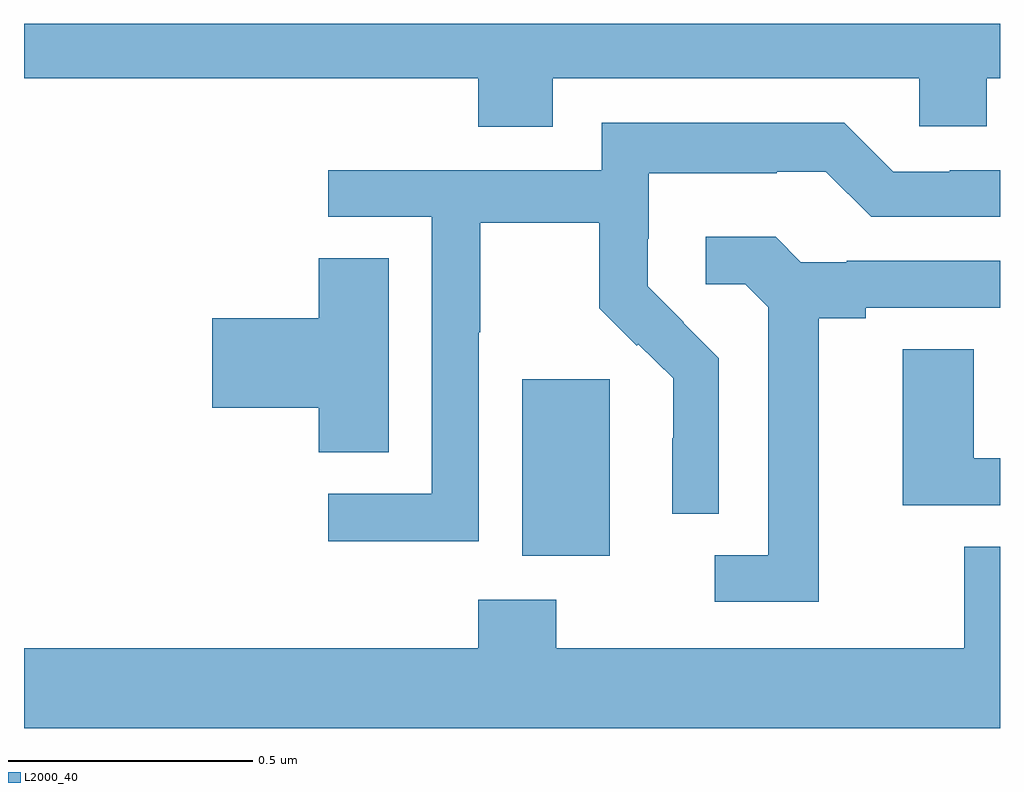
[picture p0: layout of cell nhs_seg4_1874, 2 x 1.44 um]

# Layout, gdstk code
import gdstk
lib = gdstk.Library(unit=1e-6, precision=1e-09)
def R(c, l, rs):  # rectangles x0, y0, x1, y1
    for r in rs: c.add(gdstk.rectangle(r[:2], r[2:], *l))
def P(c, l, *ps):  # polygons
    for p in ps: c.add(gdstk.Polygon(p, *l))
L2000_40 = (2000, 40)

nhs_seg4_1874 = lib.new_cell('nhs_seg4_1874')
R(nhs_seg4_1874, L2000_40, [(134.021,827.81,134.2,828.171)])
P(nhs_seg4_1874, L2000_40, [(134.083,828.788),(134.835,828.788),(134.835,828.69),(134.973,828.69),(134.973,828.788),(135,828.788),(135,828.9),(133,828.9),(133,828.788),(133.931,828.788),(133.931,828.689),(134.083,828.689)],
  [(133.932,828.268),(133.935,828.268),(133.935,828.492),(134.179,828.492),(134.179,828.317),(134.256,828.24),(134.259,828.243),(134.33,828.173),(134.33,828.05),(134.328,828.05),(134.328,827.896),(134.424,827.896),(134.424,828.214),(134.351,828.287),(134.352,828.288),(134.278,828.362),(134.278,828.459),(134.28,828.459),(134.28,828.593),(134.543,828.593),(134.543,828.597),(134.643,828.597),(134.736,828.504),(135,828.504),(135,828.6),(134.897,828.6),(134.897,828.597),(134.781,828.597),(134.681,828.697),(134.184,828.697),(134.184,828.6),(133.623,828.6),(133.623,828.504),(133.836,828.504),(133.836,827.937),(133.623,827.937),(133.623,827.839),(133.932,827.839)],
  [(134.629,828.296),(134.725,828.296),(134.725,828.318),(135,828.318),(135,828.414),(134.686,828.414),(134.686,828.411),(134.592,828.411),(134.54,828.463),(134.397,828.463),(134.397,828.366),(134.478,828.366),(134.525,828.319),(134.525,827.811),(134.415,827.811),(134.415,827.715),(134.629,827.715)],
  [(133.747,828.419),(133.604,828.419),(133.604,828.296),(133.386,828.296),(133.386,828.113),(133.604,828.113),(133.604,828.022),(133.747,828.022)],
  [(135,828.009),(134.946,828.009),(134.946,828.233),(134.801,828.233),(134.801,827.913),(135,827.913)],
  [(135,827.828),(134.927,827.828),(134.927,827.62),(134.091,827.62),(134.091,827.719),(133.931,827.719),(133.931,827.62),(133,827.62),(133,827.456),(135,827.456)])

lib.write_gds('nhs_seg4_1874.gds')
